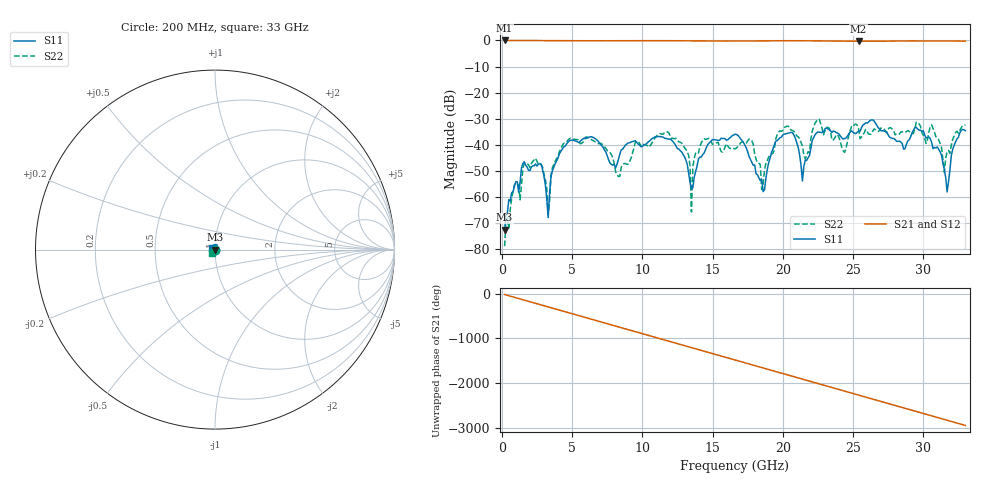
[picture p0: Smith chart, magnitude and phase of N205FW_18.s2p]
# GHZ S RI R 50
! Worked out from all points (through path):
!   329 points, 200 MHz to 33 GHz, reference 50 ohm
!   highest |S21| = -0.01 dB at 200 MHz (marker M1); lowest = -0.3 dB at 25.4 GHz (marker M2)
!   group delay of S21, straight-line fit = 248 ps
!   lowest |S11| = -72.6 dB at 200 MHz (marker M3), VSWR 1.00, Z = 50 - j0.0169 ohm
!   |S11| at or under -10 dB: start of sweep to end of sweep
!   |S22| runs from -78.8 to -30.2 dB; largest |S21 - S12| = 0.0022
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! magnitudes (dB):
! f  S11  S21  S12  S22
! 200 MHz  -72.6  0.0  0.0  -78.8
! 1.6 GHz  -46.5  0.0  0.0  -47.1
! 2.8 GHz  -47.5  -0.1  -0.1  -47.4
! 3.3 GHz  -67.9  -0.1  -0.1  -66.8
! 4.1 GHz  -43.4  -0.1  -0.1  -42.6
! 5.7 GHz  -38.1  -0.1  -0.1  -39.4
! 8.3 GHz  -45.6  -0.1  -0.1  -52.2
! 11.2 GHz  -36.8  -0.1  -0.1  -35.8
! 13.2 GHz  -47.4  -0.2  -0.2  -42.7
! 13.5 GHz  -56.9  -0.2  -0.2  -65.7
! 13.6 GHz  -56.4  -0.2  -0.2  -48.4
! 14.3 GHz  -43.8  -0.2  -0.2  -38.3
! 16.6 GHz  -36.0  -0.2  -0.2  -41.6
! 18.6 GHz  -57.9  -0.2  -0.2  -55.3
! 19.5 GHz  -38.7  -0.2  -0.2  -37.8
! 21.4 GHz  -53.9  -0.2  -0.2  -40.5
! 22.1 GHz  -38.3  -0.2  -0.2  -34.7
! 25.4 GHz  -34.7  -0.3  -0.3  -33.9
! 27.6 GHz  -37.1  -0.3  -0.3  -33.4
! 30 GHz  -34.6  -0.2  -0.2  -36.3
! 31.7 GHz  -58.1  -0.2  -0.2  -42.6
! 33 GHz  -34.6  -0.3  -0.3  -32.4
